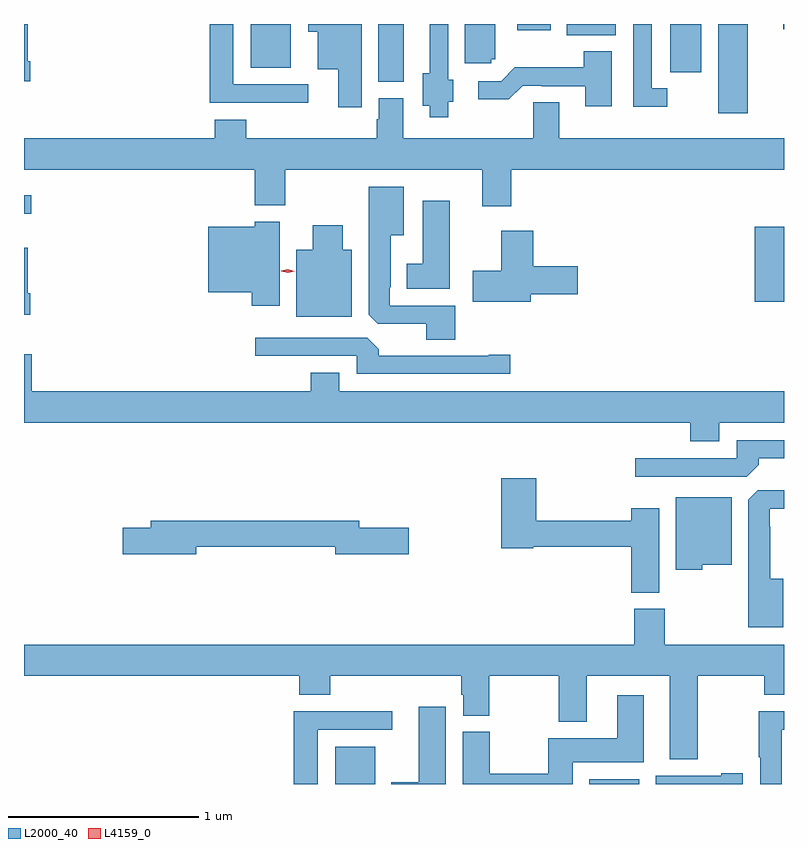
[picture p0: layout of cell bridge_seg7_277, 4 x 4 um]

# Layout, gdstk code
import gdstk
lib = gdstk.Library(unit=1e-6, precision=1e-09)
def R(c, l, rs):  # rectangles x0, y0, x1, y1
    for r in rs: c.add(gdstk.rectangle(r[:2], r[2:], *l))
def P(c, l, *ps):  # polygons
    for p in ps: c.add(gdstk.Polygon(p, *l))
L2000_40 = (2000, 40)
L4159_0 = (4159, 0)

bridge_seg7_277 = lib.new_cell('bridge_seg7_277')
R(bridge_seg7_277, L2000_40, [(120.944,1022.69,121.156,1022.887), (122.282,1022.69,122.545,1022.716), (123.152,1025.228,123.307,1025.623), (119.307,1025.691,119.344,1025.788), (122.96,1026.219,123.115,1026.69), (121.172,1026.385,121.306,1026.69), (122.708,1026.435,122.872,1026.69), (120.5,1026.461,120.712,1026.69), (122.164,1026.632,122.422,1026.69), (121.902,1026.656,122.079,1026.69), (123.302,1026.662,123.307,1026.69)])
P(bridge_seg7_277, L2000_40, [(121.54,1026.282),(121.567,1026.282),(121.567,1026.396),(121.539,1026.396),(121.539,1026.69),(121.442,1026.69),(121.442,1026.43),(121.406,1026.43),(121.406,1026.26),(121.442,1026.26),(121.442,1026.2),(121.54,1026.2)],
  [(119.339,1026.493),(119.326,1026.493),(119.326,1026.69),(119.307,1026.69),(119.307,1026.389),(119.339,1026.389)],
  [(121.084,1026.69),(120.803,1026.69),(120.803,1026.65),(120.854,1026.65),(120.854,1026.452),(120.962,1026.452),(120.962,1026.252),(121.084,1026.252)],
  [(121.767,1026.504),(121.786,1026.504),(121.786,1026.69),(121.628,1026.69),(121.628,1026.483),(121.767,1026.483)],
  [(120.802,1026.372),(120.409,1026.372),(120.409,1026.69),(120.284,1026.69),(120.284,1026.275),(120.802,1026.275)],
  [(122.692,1026.351),(122.61,1026.351),(122.61,1026.69),(122.514,1026.69),(122.514,1026.254),(122.692,1026.254)],
  [(122.401,1026.547),(122.254,1026.547),(122.254,1026.463),(121.891,1026.463),(121.818,1026.39),(121.698,1026.39),(121.698,1026.293),(121.859,1026.293),(121.932,1026.366),(122.032,1026.366),(122.032,1026.363),(122.261,1026.363),(122.261,1026.257),(122.401,1026.257)],
  [(121.871,1025.924),(123.307,1025.924),(123.307,1026.088),(122.125,1026.088),(122.125,1026.278),(121.986,1026.278),(121.986,1026.088),(121.303,1026.088),(121.303,1026.3),(121.175,1026.3),(121.175,1026.189),(121.163,1026.189),(121.163,1026.088),(120.476,1026.088),(120.476,1026.187),(120.311,1026.187),(120.311,1026.088),(119.307,1026.088),(119.307,1025.924),(120.521,1025.924),(120.521,1025.735),(120.681,1025.735),(120.681,1025.924),(121.718,1025.924),(121.718,1025.73),(121.871,1025.73)],
  [(121.577,1025.208),(121.233,1025.208),(121.233,1025.305),(121.237,1025.305),(121.237,1025.579),(121.306,1025.579),(121.306,1025.833),(121.121,1025.833),(121.121,1025.161),(121.17,1025.112),(121.424,1025.112),(121.424,1025.029),(121.577,1025.029)],
  [(121.549,1025.761),(121.406,1025.761),(121.406,1025.428),(121.322,1025.428),(121.322,1025.297),(121.549,1025.297)],
  [(120.652,1025.65),(120.522,1025.65),(120.522,1025.623),(120.278,1025.623),(120.278,1025.279),(120.506,1025.279),(120.506,1025.208),(120.652,1025.208)],
  [(121.033,1025.503),(120.985,1025.503),(120.985,1025.632),(120.827,1025.632),(120.827,1025.503),(120.74,1025.503),(120.74,1025.15),(121.033,1025.15)],
  [(121.975,1025.267),(122.221,1025.267),(122.221,1025.414),(121.988,1025.414),(121.988,1025.602),(121.82,1025.602),(121.82,1025.391),(121.668,1025.391),(121.668,1025.228),(121.975,1025.228)],
  [(119.339,1025.272),(119.326,1025.272),(119.326,1025.512),(119.307,1025.512),(119.307,1025.16),(119.339,1025.16)],
  [(121.867,1024.949),(121.754,1024.949),(121.754,1024.944),(121.175,1024.944),(121.175,1024.978),(121.113,1025.04),(120.525,1025.04),(120.525,1024.944),(121.059,1024.944),(121.059,1024.848),(121.867,1024.848)],
  [(122.965,1024.592),(123.307,1024.592),(123.307,1024.756),(120.967,1024.756),(120.967,1024.855),(120.815,1024.855),(120.815,1024.756),(119.348,1024.756),(119.348,1024.951),(119.307,1024.951),(119.307,1024.592),(122.813,1024.592),(122.813,1024.493),(122.965,1024.493)],
  [(123.173,1024.37),(123.173,1024.404),(123.307,1024.404),(123.307,1024.5),(123.057,1024.5),(123.057,1024.404),(122.523,1024.404),(122.523,1024.308),(123.111,1024.308)],
  [(122.65,1024.141),(122.504,1024.141),(122.504,1024.076),(122.003,1024.076),(122.003,1024.3),(121.82,1024.3),(121.82,1023.932),(121.986,1023.932),(121.986,1023.94),(122.504,1023.94),(122.504,1023.697),(122.65,1023.697)],
  [(123.304,1023.769),(123.235,1023.769),(123.235,1024.043),(123.231,1024.043),(123.231,1024.14),(123.307,1024.14),(123.307,1024.236),(123.168,1024.236),(123.119,1024.187),(123.119,1023.515),(123.304,1023.515)],
  [(122.877,1023.845),(123.031,1023.845),(123.031,1024.198),(122.738,1024.198),(122.738,1023.818),(122.877,1023.818)],
  [(120.214,1023.94),(120.944,1023.94),(120.944,1023.898),(121.333,1023.898),(121.333,1024.04),(121.072,1024.04),(121.072,1024.076),(119.975,1024.076),(119.975,1024.04),(119.826,1024.04),(119.826,1023.898),(120.214,1023.898)],
  [(122.853,1023.26),(123.202,1023.26),(123.202,1023.161),(123.307,1023.161),(123.307,1023.424),(122.679,1023.424),(122.679,1023.612),(122.519,1023.612),(122.519,1023.424),(119.307,1023.424),(119.307,1023.26),(120.755,1023.26),(120.755,1023.161),(120.92,1023.161),(120.92,1023.26),(121.607,1023.26),(121.607,1023.159),(121.619,1023.159),(121.619,1023.049),(121.755,1023.049),(121.755,1023.26),(122.122,1023.26),(122.122,1023.017),(122.269,1023.017),(122.269,1023.26),(122.705,1023.26),(122.705,1022.819),(122.853,1022.819)],
  [(122.194,1022.804),(122.569,1022.804),(122.569,1023.157),(122.429,1023.157),(122.429,1022.932),(122.065,1022.932),(122.065,1022.744),(121.758,1022.744),(121.758,1022.964),(121.616,1022.964),(121.616,1022.69),(122.194,1022.69)],
  [(121.528,1023.097),(121.385,1023.097),(121.385,1022.698),(121.241,1022.698),(121.241,1022.69),(121.528,1022.69)],
  [(123.295,1022.976),(123.307,1022.976),(123.307,1023.074),(123.175,1023.074),(123.175,1022.83),(123.182,1022.83),(123.182,1022.69),(123.295,1022.69)],
  [(120.853,1022.976),(121.246,1022.976),(121.246,1023.074),(120.728,1023.074),(120.728,1022.69),(120.853,1022.69)],
  [(123.091,1022.747),(122.978,1022.747),(122.978,1022.734),(122.633,1022.734),(122.633,1022.69),(123.091,1022.69)])
P(bridge_seg7_277, L4159_0, [(120.696,1025.38),(120.66,1025.39),(120.66,1025.391),(120.66,1025.391),(120.696,1025.4),(120.732,1025.39),(120.732,1025.39),(120.732,1025.389)])

lib.write_gds('bridge_seg7_277.gds')
